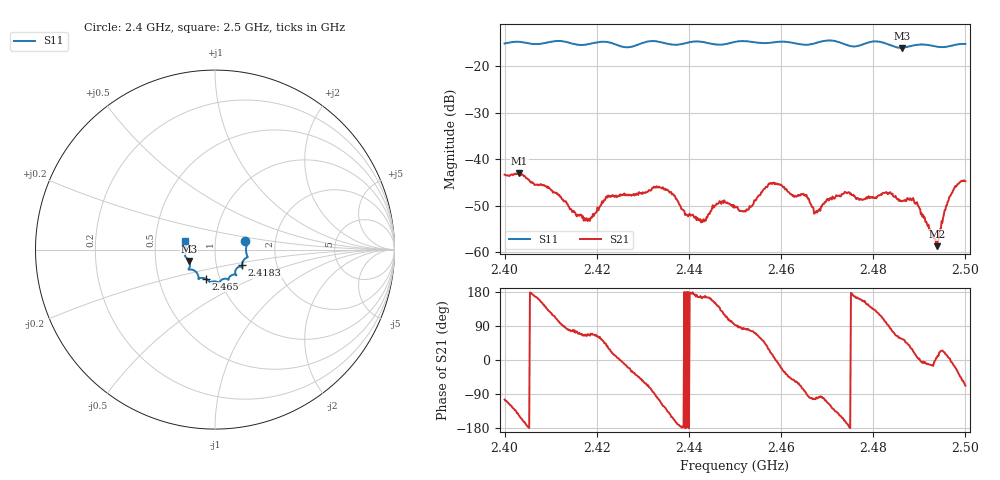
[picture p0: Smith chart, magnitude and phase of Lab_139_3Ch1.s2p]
# Hz S RI R 50
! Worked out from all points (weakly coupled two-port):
!   601 points, 2.4 GHz to 2.5 GHz, reference 50 ohm
!   highest |S21| = -42.99 dB at 2.4032 GHz (marker M1); lowest = -58.7 dB at 2.4938 GHz (marker M2)
!   lowest |S11| = -16.1 dB at 2.4862 GHz (marker M3), VSWR 1.37, Z = 37.1 - j4.83 ohm
!   |S11| at or under -10 dB: start of sweep to end of sweep
!   S12 and S22 are empty: the file has one direction only
!   S11 on the Smith chart (normalised r, x): 2.4 GHz: 1.40, +0.13; 2.4183 GHz: 1.33, -0.24; 2.465 GHz: 0.86, -0.29; 2.5 GHz: 0.71, +0.07
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2.4e9  0.1693 0.0458  -0.00169 -0.00663  0 0  0 0
2.403167e9  0.1801 0.0323  -0.00596 -0.00384  0 0  0 0
2.416667e9  0.1547 -0.0678  0.000994 0.00233  0 0  0 0
2.418333e9  0.1499 -0.0868  0.000953 0.0021  0 0  0 0
2.4225e9  0.1519 -0.0989  0.0035 0.00213  0 0  0 0
2.433333e9  0.1175 -0.1411  -0.00105 -0.00487  0 0  0 0
2.4425e9  0.0737 -0.1681  -0.00223 0.000437  0 0  0 0
2.446333e9  0.0501 -0.163  -0.00265 0.00203  0 0  0 0
2.45e9  0.0254 -0.1809  -0.000123 0.00312  0 0  0 0
2.4525e9  0.0204 -0.1844  0.000402 0.00287  0 0  0 0
2.457833e9  -0.0168 -0.1784  0.00521 0.00173  0 0  0 0
2.465e9  -0.0524 -0.1619  0.000648 -0.00405  0 0  0 0
2.466667e9  -0.0714 -0.1574  -0.000543 -0.00304  0 0  0 0
2.467667e9  -0.0812 -0.1585  -0.000414 -0.00276  0 0  0 0
2.474167e9  -0.0955 -0.14  -0.00426 -0.00103  0 0  0 0
2.4775e9  -0.1276 -0.112  -0.00342 0.00134  0 0  0 0
2.483333e9  -0.1413 -0.0964  -5.62e-05 0.00437  0 0  0 0
2.486167e9  -0.1441 -0.0634  0.00197 0.00293  0 0  0 0
2.489e9  -0.1632 -0.0406  0.00325 0.000968  0 0  0 0
2.493833e9  -0.1617 -0.0108  0.00116 0.000128  0 0  0 0
2.497e9  -0.1639 0.0278  0.00428 -0.000425  0 0  0 0
2.5e9  -0.167 0.0469  0.00221 -0.00537  0 0  0 0
